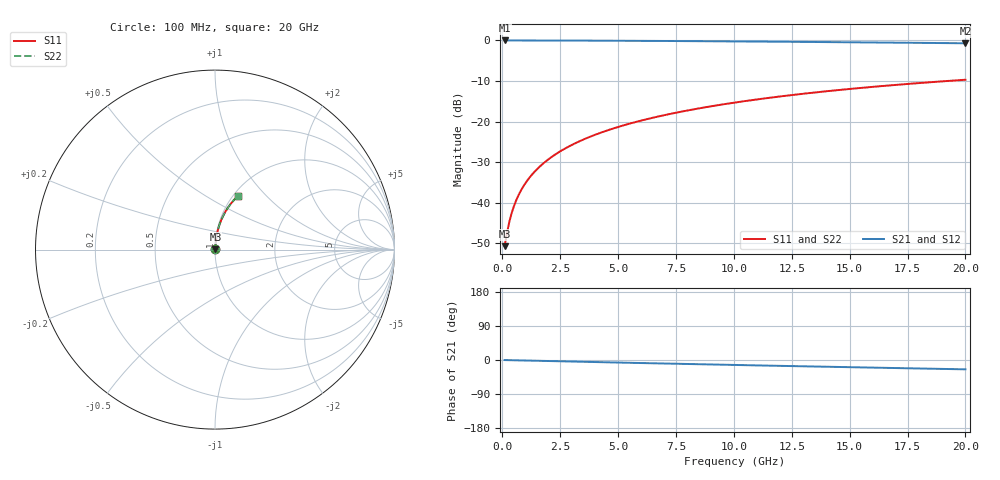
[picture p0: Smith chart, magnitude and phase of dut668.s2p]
! Touchstone file exported from HFSS 2024.1.0
!  File:  C:/UserFiles/LocalFiles/RDL_TSV_Batchsim/temp_RDL_top_668_1779781993.aedt
!  Generated:  03:55:27 PM May 26, 2026
!  Design:  RDL_top
!  Project:  temp_RDL_top_668_1779781993
!  Setup:  Setup1
!  Solution:  Sweep
! Variables:
!  dtsv = 10.80580581um
!  hbump = 3um
!  htsv = 53.14um
!  ldown = 100um
!  lrdl = 258.8um
!  p = 40
!  p1 = 54.75um
!  rhole = 1um
!  t = 450um
!  tdown = 3.915915916um
!  trdl = 3.81um
!  wdown = 15.38538539um
!  wrdl = 10.78um
# GHz S MA R 50.000000
! Terminal data exported
! Port[1] = Box2_T1
! Port[2] = Box2_T2
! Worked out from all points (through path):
!   200 points, 100 MHz to 20 GHz, reference 50 ohm
!   highest |S21| = -0.02 dB at 100 MHz (marker M1); lowest = -0.7 dB at 20 GHz (marker M2)
!   group delay of S21, straight-line fit = 3.41 ps
!   lowest |S11| = -50.7 dB at 100 MHz (marker M3), VSWR 1.01, Z = 50.2 + j0.177 ohm
!   |S11| at or under -10 dB: start of sweep to 19.22 GHz
!   |S22| runs from -50.7 to -9.7 dB; largest |S21 - S12| = 5.2e-15
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0.1  0.002926 36.9  0.9977 -0.1  0.9977 -0.1  0.002926 36.9
! Gamma 0 0 0 0
! Port Impedance 50 0 50 0
0.2  0.004233 55.9  0.9976 -0.3  0.9976 -0.3  0.004233 55.9
0.3  0.005776 65.3  0.9976 -0.4  0.9976 -0.4  0.005776 65.3
0.4  0.007399 70.5  0.9975 -0.6  0.9975 -0.6  0.007399 70.5
0.5  0.009054 73.8  0.9975 -0.7  0.9975 -0.7  0.009054 73.8
0.6  0.01072 76.0  0.9974 -0.8  0.9974 -0.8  0.01072 76.0
0.8  0.01408 78.9  0.9973 -1.1  0.9973 -1.1  0.01408 78.9
1.1  0.01915 81.2  0.997 -1.5  0.997 -1.5  0.01915 81.2
1.5  0.02594 82.7  0.9966 -2.1  0.9966 -2.1  0.02594 82.7
1.8  0.03105 83.3  0.9963 -2.5  0.9963 -2.5  0.03105 83.3
2.1  0.03617 83.6  0.9959 -2.9  0.9959 -2.9  0.03617 83.6
2.7  0.04643 83.9  0.995 -3.7  0.995 -3.7  0.04643 83.9
3.5  0.06012 83.8  0.9934 -4.7  0.9934 -4.7  0.06012 83.8
4.2  0.07212 83.4  0.9918 -5.7  0.9918 -5.7  0.07212 83.4
5  0.08584 82.8  0.9897 -6.7  0.9897 -6.7  0.08584 82.8
5.9  0.1013 82.1  0.987 -7.9  0.987 -7.9  0.1013 82.1
6.8  0.1167 81.2  0.984 -9.1  0.984 -9.1  0.1167 81.2
8.3  0.1422 79.7  0.9784 -11.0  0.9784 -11.0  0.1422 79.7
10.1  0.1725 77.8  0.9711 -13.2  0.9711 -13.2  0.1725 77.8
13.4  0.2267 74.1  0.956 -17.1  0.956 -17.1  0.2267 74.1
16.7  0.2786 70.4  0.9392 -20.9  0.9392 -20.9  0.2786 70.4
20  0.3276 66.7  0.9209 -24.6  0.9209 -24.6  0.3276 66.7
